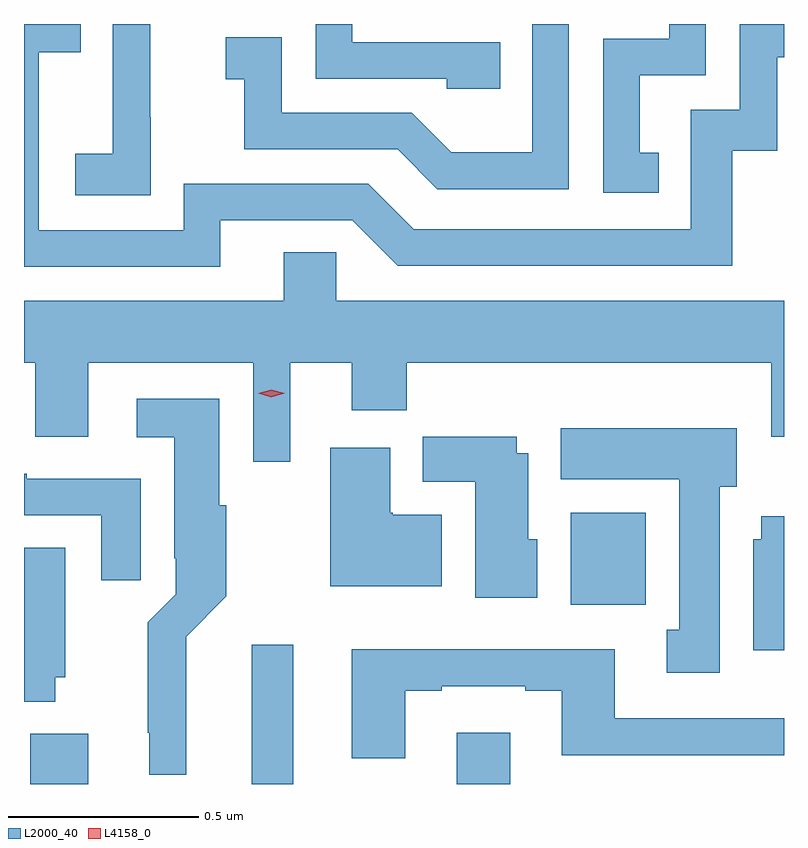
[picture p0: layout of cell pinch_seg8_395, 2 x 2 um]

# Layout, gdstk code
import gdstk
lib = gdstk.Library(unit=1e-6, precision=1e-09)
def R(c, l, rs):  # rectangles x0, y0, x1, y1
    for r in rs: c.add(gdstk.rectangle(r[:2], r[2:], *l))
def P(c, l, *ps):  # polygons
    for p in ps: c.add(gdstk.Polygon(p, *l))
L2000_40 = (2000, 40)
L4158_0 = (4158, 0)

pinch_seg8_395 = lib.new_cell('pinch_seg8_395')
R(pinch_seg8_395, L2000_40, [(460.901,1087.42,461.053,1087.552), (461.483,1087.42,461.593,1087.786), (462.023,1087.42,462.163,1087.555), (462.323,1087.892,462.52,1088.134)])
P(pinch_seg8_395, L2000_40, [(462.137,1089.372),(461.748,1089.372),(461.748,1089.42),(461.652,1089.42),(461.652,1089.276),(461.997,1089.276),(461.997,1089.249),(462.137,1089.249)],
  [(461.217,1089.175),(461.216,1089.175),(461.216,1089.42),(461.118,1089.42),(461.118,1089.308),(461.117,1089.308),(461.117,1089.079),(461.019,1089.079),(461.019,1088.969),(461.217,1088.969)],
  [(461.401,1088.904),(461.748,1088.904),(461.868,1088.784),(462.748,1088.784),(462.748,1089.087),(462.866,1089.087),(462.866,1089.333),(462.884,1089.333),(462.884,1089.42),(462.768,1089.42),(462.768,1089.195),(462.639,1089.195),(462.639,1088.88),(461.91,1088.88),(461.79,1089),(461.304,1089),(461.304,1088.877),(460.923,1088.877),(460.923,1089.346),(461.033,1089.346),(461.033,1089.42),(460.884,1089.42),(460.884,1088.781),(461.401,1088.781)],
  [(462.318,1089.42),(462.222,1089.42),(462.222,1089.082),(462.008,1089.082),(461.904,1089.186),(461.562,1089.186),(461.562,1089.385),(461.415,1089.385),(461.415,1089.275),(461.464,1089.275),(461.464,1089.09),(461.867,1089.09),(461.972,1088.985),(462.318,1088.985)],
  [(462.554,1089.081),(462.505,1089.081),(462.505,1089.285),(462.678,1089.285),(462.678,1089.42),(462.582,1089.42),(462.582,1089.381),(462.408,1089.381),(462.408,1088.976),(462.554,1088.976)],
  [(461.584,1088.528),(461.747,1088.528),(461.747,1088.404),(461.891,1088.404),(461.891,1088.528),(462.851,1088.528),(462.851,1088.334),(462.884,1088.334),(462.884,1088.692),(461.706,1088.692),(461.706,1088.819),(461.567,1088.819),(461.567,1088.692),(460.884,1088.692),(460.884,1088.528),(460.913,1088.528),(460.913,1088.334),(461.053,1088.334),(461.053,1088.528),(461.487,1088.528),(461.487,1088.268),(461.584,1088.268)],
  [(461.311,1087.808),(461.416,1087.914),(461.416,1088.154),(461.398,1088.154),(461.398,1088.434),(461.181,1088.434),(461.181,1088.333),(461.279,1088.333),(461.279,1088.014),(461.283,1088.014),(461.283,1087.92),(461.209,1087.846),(461.209,1087.555),(461.213,1087.555),(461.213,1087.445),(461.311,1087.445)],
  [(462.715,1088.202),(462.76,1088.202),(462.76,1088.356),(462.296,1088.356),(462.296,1088.222),(462.608,1088.222),(462.608,1087.826),(462.575,1087.826),(462.575,1087.713),(462.715,1087.713)],
  [(462.235,1088.064),(462.211,1088.064),(462.211,1088.29),(462.181,1088.29),(462.181,1088.334),(461.933,1088.334),(461.933,1088.216),(462.071,1088.216),(462.071,1087.91),(462.235,1087.91)],
  [(461.983,1088.128),(461.854,1088.128),(461.854,1088.134),(461.848,1088.134),(461.848,1088.305),(461.69,1088.305),(461.69,1087.94),(461.983,1087.94)],
  [(461.191,1088.223),(460.891,1088.223),(460.891,1088.236),(460.884,1088.236),(460.884,1088.127),(461.087,1088.127),(461.087,1087.956),(461.191,1087.956)],
  [(462.884,1088.125),(462.824,1088.125),(462.824,1088.064),(462.803,1088.064),(462.803,1087.772),(462.884,1087.772)],
  [(460.966,1087.701),(460.993,1087.701),(460.993,1088.042),(460.884,1088.042),(460.884,1087.637),(460.966,1087.637)],
  [(461.887,1087.665),(461.983,1087.665),(461.983,1087.677),(462.203,1087.677),(462.203,1087.665),(462.299,1087.665),(462.299,1087.496),(462.884,1087.496),(462.884,1087.593),(462.439,1087.593),(462.439,1087.774),(461.747,1087.774),(461.747,1087.488),(461.887,1087.488)])
P(pinch_seg8_395, L4158_0, [(461.535,1088.438),(461.5,1088.448),(461.499,1088.448),(461.5,1088.448),(461.535,1088.458),(461.57,1088.448),(461.57,1088.448),(461.57,1088.448)])

lib.write_gds('pinch_seg8_395.gds')
